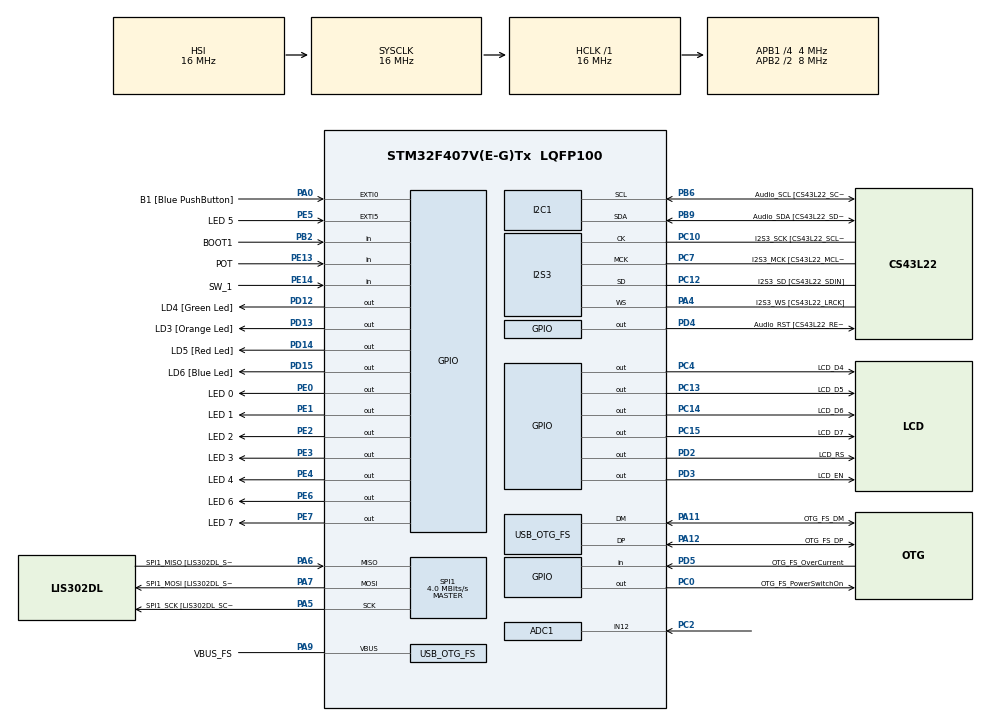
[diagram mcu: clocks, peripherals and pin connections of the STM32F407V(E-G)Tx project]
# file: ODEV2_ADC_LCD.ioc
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ADC1.Channel-0\#ChannelRegularConversion=ADC_CHANNEL_12
ADC1.ContinuousConvMode=ENABLE
ADC1.NbrOfConversionFlag=1
ADC1.Rank-0\#ChannelRegularConversion=1
ADC1.SamplingTime-0\#ChannelRegularConversion=ADC_SAMPLETIME_144CYCLES
ADC1.master=1
I2S3.AudioFreq-Half_Duplex_Master=I2S_AUDIOFREQ_96K
I2S3.ErrorAudioFreq=-2.34 %
I2S3.ErrorAudioFreq-Half_Duplex_Master=0.8 %
I2S3.FullDuplexMode=I2S_FULLDUPLEXMODE_DISABLE
I2S3.Instance=SPI$Index
I2S3.RealAudioFreq=93.75 KHz
I2S3.RealAudioFreq-Half_Duplex_Master=96.774 KHz
I2S3.VirtualMode=I2S_MODE_MASTER
Mcu.Family=STM32F4
Mcu.Name=STM32F407V(E-G)Tx
Mcu.Package=LQFP100
NVIC.OTG_FS_IRQn=true\:0\:0\:false\:false\:true\:true\:true\:true
NVIC.PriorityGroup=NVIC_PRIORITYGROUP_0
PA0-WKUP.GPIO_Label=B1 [Blue PushButton]
PA0-WKUP.GPIO_ModeDefaultEXTI=GPIO_MODE_EVT_RISING
PA0-WKUP.GPIO_PuPd=GPIO_NOPULL
PA0-WKUP.Signal=GPXTI0
PA10.GPIO_Label=OTG_FS_ID
PA10.GPIO_Mode=GPIO_MODE_AF_PP
PA10.GPIO_PuPd=GPIO_NOPULL
PA10.GPIO_Speed=GPIO_SPEED_FREQ_LOW
PA10.Signal=USB_OTG_FS_ID
PA11.GPIO_Label=OTG_FS_DM
PA11.GPIO_Mode=GPIO_MODE_AF_PP
PA11.GPIO_PuPd=GPIO_NOPULL
PA11.GPIO_Speed=GPIO_SPEED_FREQ_LOW
PA11.Mode=Host_Only
PA11.Signal=USB_OTG_FS_DM
PA12.GPIO_Label=OTG_FS_DP
PA12.GPIO_Mode=GPIO_MODE_AF_PP
PA12.GPIO_PuPd=GPIO_NOPULL
PA12.GPIO_Speed=GPIO_SPEED_FREQ_LOW
PA12.Mode=Host_Only
PA12.Signal=USB_OTG_FS_DP
PA13.GPIO_Label=SWDIO
PA13.Mode=Serial_Wire
PA13.Signal=SYS_JTMS-SWDIO
PA14.GPIO_Label=SWCLK
PA14.Mode=Serial_Wire
PA14.Signal=SYS_JTCK-SWCLK
PA4.GPIO_Label=I2S3_WS [CS43L22_LRCK]
PA4.GPIO_Mode=GPIO_MODE_AF_PP
PA4.GPIO_PuPd=GPIO_NOPULL
PA4.GPIO_Speed=GPIO_SPEED_FREQ_LOW
PA4.Mode=Half_Duplex_Master
PA4.Signal=I2S3_WS
PA5.GPIO_Label=SPI1_SCK [LIS302DL_SCL/SPC]
PA5.GPIO_Mode=GPIO_MODE_AF_PP
PA5.GPIO_PuPd=GPIO_NOPULL
PA5.GPIO_Speed=GPIO_SPEED_FREQ_LOW
PA5.Mode=Full_Duplex_Master
PA5.Signal=SPI1_SCK
PA6.GPIO_Label=SPI1_MISO [LIS302DL_SDO]
PA6.GPIO_Mode=GPIO_MODE_AF_PP
PA6.GPIO_PuPd=GPIO_NOPULL
PA6.GPIO_Speed=GPIO_SPEED_FREQ_LOW
PA6.Mode=Full_Duplex_Master
PA6.Signal=SPI1_MISO
PA7.GPIO_Label=SPI1_MOSI [LIS302DL_SDA/SDI/SDO]
PA7.GPIO_Mode=GPIO_MODE_AF_PP
PA7.GPIO_PuPd=GPIO_NOPULL
PA7.GPIO_Speed=GPIO_SPEED_FREQ_LOW
PA7.Mode=Full_Duplex_Master
PA7.Signal=SPI1_MOSI
PA9.GPIO_Label=VBUS_FS
PA9.GPIO_Mode=GPIO_MODE_INPUT
PA9.GPIO_PuPd=GPIO_NOPULL
PA9.Mode=Activate_VBUS
PA9.Signal=USB_OTG_FS_VBUS
PB10.GPIO_Label=CLK_IN [MP45DT02_CLK]
PB10.GPIO_Mode=GPIO_MODE_AF_PP
PB10.GPIO_PuPd=GPIO_NOPULL
PB10.GPIO_Speed=GPIO_SPEED_FREQ_LOW
PB10.Signal=I2S2_CK
PB2.GPIO_Label=BOOT1
PB2.GPIO_Mode=GPIO_MODE_INPUT
PB2.GPIO_PuPd=GPIO_NOPULL
PB2.Signal=GPIO_Input
PB3.GPIO_Label=SWO
PB3.Signal=SYS_JTDO-SWO
PB6.GPIO_Label=Audio_SCL [CS43L22_SCL]
PB6.GPIO_Mode=GPIO_MODE_AF_OD
PB6.GPIO_Pu=GPIO_PULLUP
PB6.GPIO_PuPd=GPIO_NOPULL
PB6.GPIO_Speed=GPIO_SPEED_FREQ_LOW
PB6.Mode=I2C
PB6.Signal=I2C1_SCL
PB9.GPIO_Label=Audio_SDA [CS43L22_SDA]
PB9.GPIO_Mode=GPIO_MODE_AF_OD
PB9.GPIO_Pu=GPIO_PULLUP
PB9.GPIO_PuPd=GPIO_NOPULL
PB9.GPIO_Speed=GPIO_SPEED_FREQ_LOW
PB9.Mode=I2C
PB9.Signal=I2C1_SDA
PC0.GPIO_Label=OTG_FS_PowerSwitchOn
PC0.GPIO_PuPd=GPIO_NOPULL
PC0.GPIO_Speed=GPIO_SPEED_FREQ_LOW
PC0.PinState=GPIO_PIN_SET
PC0.Signal=GPIO_Output
PC10.GPIO_Label=I2S3_SCK [CS43L22_SCLK]
PC10.GPIO_Mode=GPIO_MODE_AF_PP
PC10.GPIO_PuPd=GPIO_NOPULL
PC10.GPIO_Speed=GPIO_SPEED_FREQ_LOW
PC10.Mode=Half_Duplex_Master
PC10.Signal=I2S3_CK
PC12.GPIO_Label=I2S3_SD [CS43L22_SDIN]
PC12.GPIO_Mode=GPIO_MODE_AF_PP
PC12.GPIO_PuPd=GPIO_NOPULL
PC12.GPIO_Speed=GPIO_SPEED_FREQ_LOW
PC12.Mode=Half_Duplex_Master
PC12.Signal=I2S3_SD
PC13-ANTI_TAMP.GPIO_Label=LCD_D5
PC13-ANTI_TAMP.Signal=GPIO_Output
PC14-OSC32_IN.GPIO_Label=LCD_D6
PC14-OSC32_IN.Signal=GPIO_Output
PC15-OSC32_OUT.GPIO_Label=LCD_D7
PC15-OSC32_OUT.Signal=GPIO_Output
PC2.Signal=ADCx_IN12
PC3.GPIO_Label=PDM_OUT [MP45DT02_DOUT]
PC3.GPIO_Mode=GPIO_MODE_AF_PP
PC3.GPIO_PuPd=GPIO_NOPULL
PC3.GPIO_Speed=GPIO_SPEED_FREQ_LOW
PC3.Signal=I2S2_SD
PC4.GPIO_Label=LCD_D4
PC4.Signal=GPIO_Output
PC7.GPIO_Label=I2S3_MCK [CS43L22_MCLK]
PC7.GPIO_Mode=GPIO_MODE_AF_PP
PC7.GPIO_PuPd=GPIO_NOPULL
PC7.GPIO_Speed=GPIO_SPEED_FREQ_LOW
PC7.Mode=Master_Clock_Activated
PC7.Signal=I2S3_MCK
PD12.GPIO_Label=LD4 [Green Led]
PD12.GPIO_PuPd=GPIO_NOPULL
PD12.GPIO_Speed=GPIO_SPEED_FREQ_LOW
PD12.Signal=GPIO_Output
PD13.GPIO_Label=LD3 [Orange Led]
PD13.GPIO_PuPd=GPIO_NOPULL
PD13.GPIO_Speed=GPIO_SPEED_FREQ_LOW
PD13.Signal=GPIO_Output
PD14.GPIO_Label=LD5 [Red Led]
PD14.GPIO_PuPd=GPIO_NOPULL
PD14.GPIO_Speed=GPIO_SPEED_FREQ_LOW
PD14.Signal=GPIO_Output
PD15.GPIO_Label=LD6 [Blue Led]
PD15.GPIO_PuPd=GPIO_NOPULL
PD15.GPIO_Speed=GPIO_SPEED_FREQ_LOW
PD15.Signal=GPIO_Output
PD2.GPIO_Label=LCD_RS
PD2.Signal=GPIO_Output
PD3.GPIO_Label=LCD_EN
PD3.Signal=GPIO_Output
PD4.GPIO_Label=Audio_RST [CS43L22_RESET]
PD4.GPIO_PuPd=GPIO_NOPULL
PD4.GPIO_Speed=GPIO_SPEED_FREQ_LOW
PD4.Signal=GPIO_Output
PD5.GPIO_Label=OTG_FS_OverCurrent
PD5.GPIO_Mode=GPIO_MODE_INPUT
PD5.GPIO_PuPd=GPIO_NOPULL
PD5.Signal=GPIO_Input
PE0.GPIO_Label=LED 0
PE0.Signal=GPIO_Output
PE1.GPIO_Label=LED 1
PE1.Signal=GPIO_Output
PE13.GPIO_Label=POT
PE13.Signal=GPIO_Input
PE14.GPIO_Label=SW_1
PE14.Signal=GPIO_Input
PE2.GPIO_Label=LED 2
PE2.Signal=GPIO_Output
PE3.GPIO_Label=LED 3
PE3.Signal=GPIO_Output
PE4.GPIO_Label=LED 4
PE4.Signal=GPIO_Output
PE5.GPIO_Label=LED 5
PE5.Signal=GPXTI5
PE6.GPIO_Label=LED 6
PE6.Signal=GPIO_Output
PE7.GPIO_Label=LED 7
PE7.Signal=GPIO_Output
PH0-OSC_IN.GPIO_Label=PH0-OSC_IN
PH0-OSC_IN.Mode=HSE-External-Oscillator
PH0-OSC_IN.Signal=RCC_OSC_IN
PH1-OSC_OUT.GPIO_Label=PH1-OSC_OUT
PH1-OSC_OUT.Mode=HSE-External-Oscillator
PH1-OSC_OUT.Signal=RCC_OSC_OUT
ProjectManager.HeapSize=0x200
ProjectManager.StackSize=0x400
ProjectManager.TargetToolchain=STM32CubeIDE
RCC.48MHZClocksFreq_Value=48000000
RCC.AHBFreq_Value=16000000
RCC.APB1CLKDivider=RCC_HCLK_DIV4
RCC.APB1Freq_Value=4000000
RCC.APB1TimFreq_Value=8000000
RCC.APB2CLKDivider=RCC_HCLK_DIV2
RCC.APB2Freq_Value=8000000
RCC.APB2TimFreq_Value=16000000
RCC.CortexFreq_Value=16000000
RCC.HCLKFreq_Value=16000000
RCC.HSE_VALUE=8000000
RCC.HSI_VALUE=16000000
RCC.PLLM=8
RCC.PLLN=336
RCC.PLLQ=7
RCC.SYSCLKFreq_VALUE=16000000
RCC.VCOOutputFreq_Value=336000000
SH.ADCx_IN12.0=ADC1_IN12,IN12
SPI1.BaudRatePrescaler-Full_Duplex_Master=SPI_BAUDRATEPRESCALER_2
SPI1.CalculateBaudRate=4.0 MBits/s
SPI1.CalculateBaudRate-Full_Duplex_Master=42.0 MBits/s
SPI1.Direction=SPI_DIRECTION_2LINES
SPI1.Mode=SPI_MODE_MASTER
SPI1.Mode-Full_Duplex_Master=SPI_MODE_MASTER
SPI1.VirtualType=VM_MASTER
USB_HOST.BSP.number=1
USB_HOST.USBH_HandleTypeDef-CDC_FS=hUsbHostFS
USB_HOST.VirtualModeFS=Cdc
USB_HOST0.BSP.STBoard=false
USB_HOST0.BSP.api=Unknown
USB_HOST0.BSP.instance=PC0
USB_HOST0.BSP.ip=GPIO
USB_HOST0.BSP.mode=Output
USB_HOST0.BSP.name=Drive_VBUS_FS
USB_HOST0.BSP.solution=PC0
USB_OTG_FS.VirtualMode=Host_Only
USB_OTG_FS.phy_itface=HCD_PHY_EMBEDDED
VP_USB_HOST_VS_USB_HOST_CDC_FS.Mode=CDC_FS
board=STM32F407G-DISC1

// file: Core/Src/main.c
/* USER CODE BEGIN Header */
/**
 ******************************************************************************
 * @file           : main.c
 * @brief          : Main program body
 ******************************************************************************
 * @attention
 *
 * Copyright (c) 2026 STMicroelectronics.
 * All rights reserved.
 *
 * This software is licensed under terms that can be found in the LICENSE file
 * in the root directory of this software component.
 * If no LICENSE file comes with this software, it is provided AS-IS.
 *
 ******************************************************************************
 */
/* USER CODE END Header */
#include "main.h"
#include "usb_host.h"

ADC_HandleTypeDef hadc1;

I2C_HandleTypeDef hi2c1;

I2S_HandleTypeDef hi2s3;

SPI_HandleTypeDef hspi1;

void SystemClock_Config(void);
static void MX_GPIO_Init(void);
static void MX_I2C1_Init(void);
static void MX_I2S3_Init(void);
static void MX_SPI1_Init(void);
static void MX_ADC1_Init(void);
void MX_USB_HOST_Process(void);

/* USER CODE BEGIN 0 */
uint16_t adc_ham_deger = 0;
float voltaj_degeri = 0.0;
float sicaklik_degeri = 0.0; // LM35 sıcaklık değeri için
char lcd_buffer[16];
float celcius;
float fahrenheit;
uint16_t LED_PINS[] = {
GPIO_PIN_0, GPIO_PIN_1, GPIO_PIN_2, GPIO_PIN_3,
GPIO_PIN_4, GPIO_PIN_5, GPIO_PIN_6, GPIO_PIN_7 };
int bolum;
/* USER CODE END 0 */

int main(void) {

	/* MCU Configuration--------------------------------------------------------*/

	/* Reset of all peripherals, Initializes the Flash interface and the Systick. */
	HAL_Init();

	/* Configure the system clock */
	SystemClock_Config();

	/* Initialize all configured peripherals */
	MX_GPIO_Init();
	MX_I2C1_Init();
	MX_I2S3_Init();
	MX_SPI1_Init();
	MX_USB_HOST_Init();
	MX_ADC1_Init();
	/* USER CODE BEGIN 2 */
	LCD_Init();             // LCD başlat
	HAL_ADC_Start(&hadc1);  // ADC başlat (Sürekli mod)

	// --- AÇILIŞ SENARYOSU ---
	LCD_SetCursor(0, 0);
	LCD_Print("SCU BIL MUH");
	HAL_Delay(2000);
	LCD_Clear();

	LCD_SetCursor(0, 0);
	LCD_Print("DENEY-2 ADC");
	LCD_SetCursor(1, 0);
	LCD_Print("Grup No: 5");
	HAL_Delay(1000);
	LCD_Clear();
	/* USER CODE END 2 */

	/* Infinite loop */
	/* USER CODE BEGIN WHILE */

	while (1) {

		// 2. ADIM: ADC Okuma ve Hesaplamalar
		if (HAL_ADC_PollForConversion(&hadc1, 100) == HAL_OK) {
			adc_ham_deger = HAL_ADC_GetValue(&hadc1);
		}

		// Voltaj Hesabı: (ADC * 3.3) / 4095
		voltaj_degeri = (adc_ham_deger * 3.3f) / 4095.0f;

		// LM35 Sıcaklık Hesabı: 10mV = 1 Derece ise 1V = 100 Derece
		celcius = voltaj_degeri * 100.0f;

		fahrenheit = celcius * 1.8 + 32;

		// 3. ADIM: LCD Yazdırma (1. Satır: Voltaj, 2. Satır: Sıcaklık)
		LCD_SetCursor(0, 0);
		sprintf(lcd_buffer, "Voltaj: %.2f V", voltaj_degeri);
		LCD_Print(lcd_buffer);

		if (HAL_GPIO_ReadPin(GPIOE, GPIO_PIN_14) == GPIO_PIN_SET) {
			bolum = (int) (celcius / 12.5);
			for (int i = 0; i < bolum; i++) {
				HAL_GPIO_WritePin(GPIOE, LED_PINS[7 - i], GPIO_PIN_SET);
			}
		} else {
			for (int i = 0; i < bolum; i++) {
				HAL_GPIO_WritePin(GPIOE, LED_PINS[7 - i], GPIO_PIN_SET);
			}
		}

		// 5. ADIM: LED Görselleştirme (Örnek: Sıcaklık 30 dereceden büyükse LD5 yansın)
		if (HAL_GPIO_ReadPin(GPIOE, GPIO_PIN_13) == GPIO_PIN_SET) {
			LCD_SetCursor(1, 0);
			sprintf(lcd_buffer, "Sicaklik(F): %f", fahrenheit);
			LCD_Print(lcd_buffer);

		} else {
			LCD_SetCursor(1, 0);
			sprintf(lcd_buffer, "Sicaklik(C): %2f ", celcius);
			LCD_Print(lcd_buffer);

		}

		/* USER CODE END WHILE */
		MX_USB_HOST_Process();

	}
}

void SystemClock_Config(void) {
	RCC_OscInitTypeDef RCC_OscInitStruct = { 0 };
	RCC_ClkInitTypeDef RCC_ClkInitStruct = { 0 };

	/** Configure the main internal regulator output voltage
	 */
	__HAL_RCC_PWR_CLK_ENABLE();
	__HAL_PWR_VOLTAGESCALING_CONFIG(PWR_REGULATOR_VOLTAGE_SCALE1);

	/** Initializes the RCC Oscillators according to the specified parameters
	 * in the RCC_OscInitTypeDef structure.
	 */
	RCC_OscInitStruct.OscillatorType = RCC_OSCILLATORTYPE_HSI
			| RCC_OSCILLATORTYPE_HSE;
	RCC_OscInitStruct.HSEState = RCC_HSE_ON;
	RCC_OscInitStruct.HSIState = RCC_HSI_ON;
	RCC_OscInitStruct.HSICalibrationValue = RCC_HSICALIBRATION_DEFAULT;
	RCC_OscInitStruct.PLL.PLLState = RCC_PLL_ON;
	RCC_OscInitStruct.PLL.PLLSource = RCC_PLLSOURCE_HSE;
	RCC_OscInitStruct.PLL.PLLM = 8;
	RCC_OscInitStruct.PLL.PLLN = 336;
	RCC_OscInitStruct.PLL.PLLP = RCC_PLLP_DIV2;
	RCC_OscInitStruct.PLL.PLLQ = 7;
	if (HAL_RCC_OscConfig(&RCC_OscInitStruct) != HAL_OK) {
		Error_Handler();
	}

	/** Initializes the CPU, AHB and APB buses clocks
	 */
	RCC_ClkInitStruct.ClockType = RCC_CLOCKTYPE_HCLK | RCC_CLOCKTYPE_SYSCLK
			| RCC_CLOCKTYPE_PCLK1 | RCC_CLOCKTYPE_PCLK2;
	RCC_ClkInitStruct.SYSCLKSource = RCC_SYSCLKSOURCE_HSI;
	RCC_ClkInitStruct.AHBCLKDivider = RCC_SYSCLK_DIV1;
	RCC_ClkInitStruct.APB1CLKDivider = RCC_HCLK_DIV4;
	RCC_ClkInitStruct.APB2CLKDivider = RCC_HCLK_DIV2;

	if (HAL_RCC_ClockConfig(&RCC_ClkInitStruct, FLASH_LATENCY_0) != HAL_OK) {
		Error_Handler();
	}
}

static void MX_ADC1_Init(void) {

	ADC_ChannelConfTypeDef sConfig = { 0 };

	/** Configure the global features of the ADC (Clock, Resolution, Data Alignment and number of conversion)
	 */
	hadc1.Instance = ADC1;
	hadc1.Init.ClockPrescaler = ADC_CLOCK_SYNC_PCLK_DIV2;
	hadc1.Init.Resolution = ADC_RESOLUTION_12B;
	hadc1.Init.ScanConvMode = DISABLE;
	hadc1.Init.ContinuousConvMode = ENABLE;
	hadc1.Init.DiscontinuousConvMode = DISABLE;
	hadc1.Init.ExternalTrigConvEdge = ADC_EXTERNALTRIGCONVEDGE_NONE;
	hadc1.Init.ExternalTrigConv = ADC_SOFTWARE_START;
	hadc1.Init.DataAlign = ADC_DATAALIGN_RIGHT;
	hadc1.Init.NbrOfConversion = 1;
	hadc1.Init.DMAContinuousRequests = DISABLE;
	hadc1.Init.EOCSelection = ADC_EOC_SINGLE_CONV;
	if (HAL_ADC_Init(&hadc1) != HAL_OK) {
		Error_Handler();
	}

	/** Configure for the selected ADC regular channel its corresponding rank in the sequencer and its sample time.
	 */
	sConfig.Channel = ADC_CHANNEL_12;
	sConfig.Rank = 1;
	sConfig.SamplingTime = ADC_SAMPLETIME_144CYCLES;
	if (HAL_ADC_ConfigChannel(&hadc1, &sConfig) != HAL_OK) {
		Error_Handler();
	}

}

static void MX_I2C1_Init(void) {

	hi2c1.Instance = I2C1;
	hi2c1.Init.ClockSpeed = 100000;
	hi2c1.Init.DutyCycle = I2C_DUTYCYCLE_2;
	hi2c1.Init.OwnAddress1 = 0;
	hi2c1.Init.AddressingMode = I2C_ADDRESSINGMODE_7BIT;
	hi2c1.Init.DualAddressMode = I2C_DUALADDRESS_DISABLE;
	hi2c1.Init.OwnAddress2 = 0;
	hi2c1.Init.GeneralCallMode = I2C_GENERALCALL_DISABLE;
	hi2c1.Init.NoStretchMode = I2C_NOSTRETCH_DISABLE;
	if (HAL_I2C_Init(&hi2c1) != HAL_OK) {
		Error_Handler();
	}

}

static void MX_I2S3_Init(void) {

	hi2s3.Instance = SPI3;
	hi2s3.Init.Mode = I2S_MODE_MASTER_TX;
	hi2s3.Init.Standard = I2S_STANDARD_PHILIPS;
	hi2s3.Init.DataFormat = I2S_DATAFORMAT_16B;
	hi2s3.Init.MCLKOutput = I2S_MCLKOUTPUT_ENABLE;
	hi2s3.Init.AudioFreq = I2S_AUDIOFREQ_96K;
	hi2s3.Init.CPOL = I2S_CPOL_LOW;
	hi2s3.Init.ClockSource = I2S_CLOCK_PLL;
	hi2s3.Init.FullDuplexMode = I2S_FULLDUPLEXMODE_DISABLE;
	if (HAL_I2S_Init(&hi2s3) != HAL_OK) {
		Error_Handler();
	}

}

static void MX_SPI1_Init(void) {

	/* SPI1 parameter configuration*/
	hspi1.Instance = SPI1;
	hspi1.Init.Mode = SPI_MODE_MASTER;
	hspi1.Init.Direction = SPI_DIRECTION_2LINES;
	hspi1.Init.DataSize = SPI_DATASIZE_8BIT;
	hspi1.Init.CLKPolarity = SPI_POLARITY_LOW;
	hspi1.Init.CLKPhase = SPI_PHASE_1EDGE;
	hspi1.Init.NSS = SPI_NSS_SOFT;
	hspi1.Init.BaudRatePrescaler = SPI_BAUDRATEPRESCALER_2;
	hspi1.Init.FirstBit = SPI_FIRSTBIT_MSB;
	hspi1.Init.TIMode = SPI_TIMODE_DISABLE;
	hspi1.Init.CRCCalculation = SPI_CRCCALCULATION_DISABLE;
	hspi1.Init.CRCPolynomial = 10;
	if (HAL_SPI_Init(&hspi1) != HAL_OK) {
		Error_Handler();
	}

}

static void MX_GPIO_Init(void) {
	GPIO_InitTypeDef GPIO_InitStruct = { 0 };

	/* GPIO Ports Clock Enable */
	__HAL_RCC_GPIOE_CLK_ENABLE();
	__HAL_RCC_GPIOC_CLK_ENABLE();
	__HAL_RCC_GPIOH_CLK_ENABLE();
	__HAL_RCC_GPIOA_CLK_ENABLE();
	__HAL_RCC_GPIOB_CLK_ENABLE();
	__HAL_RCC_GPIOD_CLK_ENABLE();

	/*Configure GPIO pin Output Level */
	HAL_GPIO_WritePin(GPIOE,
			LED_2_Pin | LED_3_Pin | LED_4_Pin | LED_6_Pin | LED_7_Pin
					| LED_0_Pin | LED_1_Pin, GPIO_PIN_RESET);

	/*Configure GPIO pin Output Level */
	HAL_GPIO_WritePin(GPIOC, LCD_D5_Pin | LCD_D6_Pin | LCD_D7_Pin | LCD_D4_Pin,
			GPIO_PIN_RESET);

	/*Configure GPIO pin Output Level */
	HAL_GPIO_WritePin(OTG_FS_PowerSwitchOn_GPIO_Port, OTG_FS_PowerSwitchOn_Pin,
			GPIO_PIN_SET);

	/*Configure GPIO pin Output Level */
	HAL_GPIO_WritePin(GPIOD,
			LD4_Pin | LD3_Pin | LD5_Pin | LD6_Pin | LCD_RS_Pin | LCD_EN_Pin
					| Audio_RST_Pin, GPIO_PIN_RESET);

	/*Configure GPIO pins : LED_2_Pin LED_3_Pin LED_4_Pin LED_6_Pin
	 LED_7_Pin LED_0_Pin LED_1_Pin */
	GPIO_InitStruct.Pin = LED_2_Pin | LED_3_Pin | LED_4_Pin | LED_6_Pin
			| LED_7_Pin | LED_0_Pin | LED_1_Pin;
	GPIO_InitStruct.Mode = GPIO_MODE_OUTPUT_PP;
	GPIO_InitStruct.Pull = GPIO_NOPULL;
	GPIO_InitStruct.Speed = GPIO_SPEED_FREQ_LOW;
	HAL_GPIO_Init(GPIOE, &GPIO_InitStruct);

	/*Configure GPIO pin : LED_5_Pin */
	GPIO_InitStruct.Pin = LED_5_Pin;
	GPIO_InitStruct.Mode = GPIO_MODE_IT_RISING;
	GPIO_InitStruct.Pull = GPIO_NOPULL;
	HAL_GPIO_Init(LED_5_GPIO_Port, &GPIO_InitStruct);

	/*Configure GPIO pins : LCD_D5_Pin LCD_D6_Pin LCD_D7_Pin OTG_FS_PowerSwitchOn_Pin
	 LCD_D4_Pin */
	GPIO_InitStruct.Pin = LCD_D5_Pin | LCD_D6_Pin | LCD_D7_Pin
			| OTG_FS_PowerSwitchOn_Pin | LCD_D4_Pin;
	GPIO_InitStruct.Mode = GPIO_MODE_OUTPUT_PP;
	GPIO_InitStruct.Pull = GPIO_NOPULL;
	GPIO_InitStruct.Speed = GPIO_SPEED_FREQ_LOW;
	HAL_GPIO_Init(GPIOC, &GPIO_InitStruct);

	/*Configure GPIO pin : PDM_OUT_Pin */
	GPIO_InitStruct.Pin = PDM_OUT_Pin;
	GPIO_InitStruct.Mode = GPIO_MODE_AF_PP;
	GPIO_InitStruct.Pull = GPIO_NOPULL;
	GPIO_InitStruct.Speed = GPIO_SPEED_FREQ_LOW;
	GPIO_InitStruct.Alternate = GPIO_AF5_SPI2;
	HAL_GPIO_Init(PDM_OUT_GPIO_Port, &GPIO_InitStruct);

	/*Configure GPIO pin : B1_Pin */
	GPIO_InitStruct.Pin = B1_Pin;
	GPIO_InitStruct.Mode = GPIO_MODE_EVT_RISING;
	GPIO_InitStruct.Pull = GPIO_NOPULL;
	HAL_GPIO_Init(B1_GPIO_Port, &GPIO_InitStruct);

	/*Configure GPIO pin : BOOT1_Pin */
	GPIO_InitStruct.Pin = BOOT1_Pin;
	GPIO_InitStruct.Mode = GPIO_MODE_INPUT;
	GPIO_InitStruct.Pull = GPIO_NOPULL;
	HAL_GPIO_Init(BOOT1_GPIO_Port, &GPIO_InitStruct);

	/*Configure GPIO pins : POT_Pin SW_1_Pin */
	GPIO_InitStruct.Pin = POT_Pin | SW_1_Pin;
	GPIO_InitStruct.Mode = GPIO_MODE_INPUT;
	GPIO_InitStruct.Pull = GPIO_NOPULL;
	HAL_GPIO_Init(GPIOE, &GPIO_InitStruct);

	/*Configure GPIO pin : CLK_IN_Pin */
	GPIO_InitStruct.Pin = CLK_IN_Pin;
	GPIO_InitStruct.Mode = GPIO_MODE_AF_PP;
	GPIO_InitStruct.Pull = GPIO_NOPULL;
	GPIO_InitStruct.Speed = GPIO_SPEED_FREQ_LOW;
	GPIO_InitStruct.Alternate = GPIO_AF5_SPI2;
	HAL_GPIO_Init(CLK_IN_GPIO_Port, &GPIO_InitStruct);

	/*Configure GPIO pins : LD4_Pin LD3_Pin LD5_Pin LD6_Pin
	 LCD_RS_Pin LCD_EN_Pin Audio_RST_Pin */
	GPIO_InitStruct.Pin = LD4_Pin | LD3_Pin | LD5_Pin | LD6_Pin | LCD_RS_Pin
			| LCD_EN_Pin | Audio_RST_Pin;
	GPIO_InitStruct.Mode = GPIO_MODE_OUTPUT_PP;
	GPIO_InitStruct.Pull = GPIO_NOPULL;
	GPIO_InitStruct.Speed = GPIO_SPEED_FREQ_LOW;
	HAL_GPIO_Init(GPIOD, &GPIO_InitStruct);

	/*Configure GPIO pin : OTG_FS_OverCurrent_Pin */
	GPIO_InitStruct.Pin = OTG_FS_OverCurrent_Pin;
	GPIO_InitStruct.Mode = GPIO_MODE_INPUT;
	GPIO_InitStruct.Pull = GPIO_NOPULL;
	HAL_GPIO_Init(OTG_FS_OverCurrent_GPIO_Port, &GPIO_InitStruct);

}

void Error_Handler(void) {
	__disable_irq();
	while (1) {
	}
}
